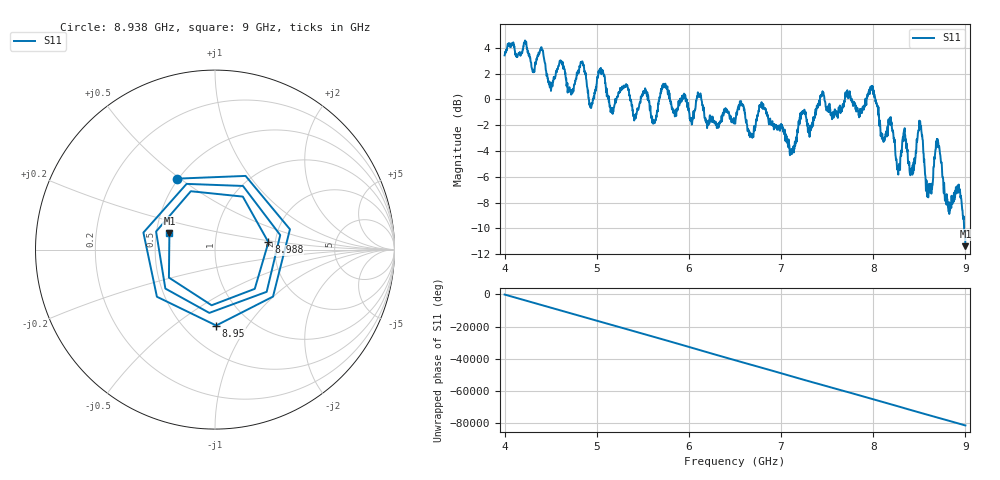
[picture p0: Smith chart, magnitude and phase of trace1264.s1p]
! Created with skrf 1.8.0 (http://scikit-rf.org).
# Hz S RI R 50.0
!freq ReS11 ImS11
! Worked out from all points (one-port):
!   1601 points, 4 GHz to 9 GHz, reference 50 ohm
!   lowest |S11| = -11.4 dB at 9 GHz (marker M1), VSWR 1.74, Z = 29.3 + j5.74 ohm
!   |S11| at or under -10 dB: 8.986038 GHz to end of sweep
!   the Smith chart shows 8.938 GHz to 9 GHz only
!   S11 on the Smith chart (normalised r, x): 8.938 GHz: 0.49, +0.48; 8.95 GHz: 0.70, -0.73; 8.988 GHz: 1.84, +0.16; 9 GHz: 0.59, +0.11
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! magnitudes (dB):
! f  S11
! 4 GHz  3.4
! 4.497 GHz  1.2
! 4.625 GHz  2.7
! 4.722 GHz  0.4
! 4.847 GHz  2.9
! 4.934 GHz  -0.6
! 5.044 GHz  2.4
! 5.162 GHz  -0.7
! 5.25 GHz  0.5
! 5.875 GHz  -0.9
! 6.5 GHz  -1.8
! 6.678 GHz  -2.7
! 6.791 GHz  -0.4
! 7.125 GHz  -3.9
! 7.234 GHz  -1.1
! 7.75 GHz  0.2
! 7.991 GHz  1.0
! 8.103 GHz  -3.0
! 8.375 GHz  -4.3
! 8.419 GHz  -5.7
! 8.509 GHz  -1.7
! 8.594 GHz  -6.7
! 8.697 GHz  -3.1
! 8.803 GHz  -7.7
! 8.938 GHz  -6.9
! 8.95 GHz  -7.5
! 8.988 GHz  -10.4
! 9 GHz  -11.4
